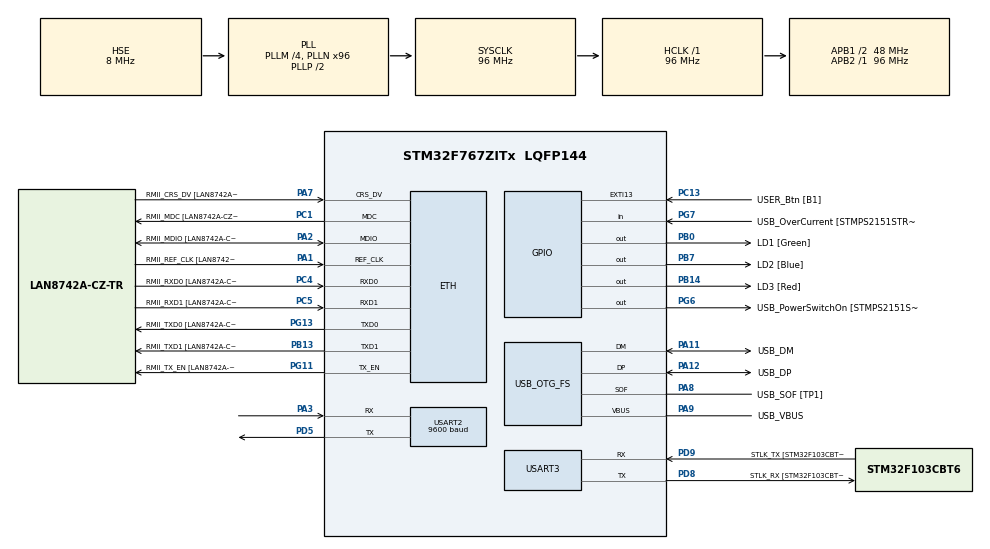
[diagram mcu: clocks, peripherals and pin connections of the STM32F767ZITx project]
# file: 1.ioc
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ETH.MediaInterface=ETH_MEDIA_INTERFACE_RMII
ETH.PHY_Name=LAN8742A_PHY_ADDRESS
ETH.PHY_Value=0
ETH.PhyAddress=0
Mcu.Family=STM32F7
Mcu.Name=STM32F767ZITx
Mcu.Package=LQFP144
NVIC.PriorityGroup=NVIC_PRIORITYGROUP_4
PA1.GPIO_Label=RMII_REF_CLK [LAN8742A-CZ-TR_REFCLK0]
PA1.Mode=RMII
PA1.Signal=ETH_REF_CLK
PA10.GPIO_Label=USB_ID
PA10.Signal=USB_OTG_FS_ID
PA11.GPIO_Label=USB_DM
PA11.Mode=Device_Only
PA11.Signal=USB_OTG_FS_DM
PA12.GPIO_Label=USB_DP
PA12.Mode=Device_Only
PA12.Signal=USB_OTG_FS_DP
PA13.GPIO_Label=TMS
PA13.Mode=Serial_Wire
PA13.Signal=SYS_JTMS-SWDIO
PA14.GPIO_Label=TCK
PA14.Mode=Serial_Wire
PA14.Signal=SYS_JTCK-SWCLK
PA2.GPIO_Label=RMII_MDIO [LAN8742A-CZ-TR_MDIO]
PA2.Mode=RMII
PA2.Signal=ETH_MDIO
PA3.Mode=Asynchronous
PA3.Signal=USART2_RX
PA7.GPIO_Label=RMII_CRS_DV [LAN8742A-CZ-TR_CRS_DV]
PA7.Mode=RMII
PA7.Signal=ETH_CRS_DV
PA8.GPIO_Label=USB_SOF [TP1]
PA8.Mode=Activate_SOF_FS
PA8.Signal=USB_OTG_FS_SOF
PA9.GPIO_Label=USB_VBUS
PA9.Mode=Activate_VBUS
PA9.Signal=USB_OTG_FS_VBUS
PB0.GPIO_Label=LD1 [Green]
PB0.Signal=GPIO_Output
PB13.GPIO_Label=RMII_TXD1 [LAN8742A-CZ-TR_TXD1]
PB13.Mode=RMII
PB13.Signal=ETH_TXD1
PB14.GPIO_Label=LD3 [Red]
PB14.Signal=GPIO_Output
PB3.GPIO_Label=SWO
PB3.Signal=SYS_JTDO-SWO
PB7.GPIO_Label=LD2 [Blue]
PB7.Signal=GPIO_Output
PC1.GPIO_Label=RMII_MDC [LAN8742A-CZ-TR_MDC]
PC1.Mode=RMII
PC1.Signal=ETH_MDC
PC13.GPIO_Label=USER_Btn [B1]
PC13.Signal=GPXTI13
PC14/OSC32_IN.Mode=LSE-External-Oscillator
PC14/OSC32_IN.Signal=RCC_OSC32_IN
PC15/OSC32_OUT.Mode=LSE-External-Oscillator
PC15/OSC32_OUT.Signal=RCC_OSC32_OUT
PC4.GPIO_Label=RMII_RXD0 [LAN8742A-CZ-TR_RXD0]
PC4.Mode=RMII
PC4.Signal=ETH_RXD0
PC5.GPIO_Label=RMII_RXD1 [LAN8742A-CZ-TR_RXD1]
PC5.Mode=RMII
PC5.Signal=ETH_RXD1
PD5.Mode=Asynchronous
PD5.Signal=USART2_TX
PD8.GPIO_Label=STLK_RX [STM32F103CBT6_PA3]
PD8.Mode=Asynchronous
PD8.Signal=USART3_TX
PD9.GPIO_Label=STLK_TX [STM32F103CBT6_PA2]
PD9.Mode=Asynchronous
PD9.Signal=USART3_RX
PG11.GPIO_Label=RMII_TX_EN [LAN8742A-CZ-TR_TXEN]
PG11.Mode=RMII
PG11.Signal=ETH_TX_EN
PG13.GPIO_Label=RMII_TXD0 [LAN8742A-CZ-TR_TXD0]
PG13.Mode=RMII
PG13.Signal=ETH_TXD0
PG6.GPIO_Label=USB_PowerSwitchOn [STMPS2151STR_EN]
PG6.Signal=GPIO_Output
PG7.GPIO_Label=USB_OverCurrent [STMPS2151STR_FAULT]
PG7.Signal=GPIO_Input
PH0/OSC_IN.GPIO_Label=MCO [STM32F103CBT6_PA8]
PH0/OSC_IN.Mode=HSE-External-Clock-Source
PH0/OSC_IN.Signal=RCC_OSC_IN
PH1/OSC_OUT.Mode=HSE-External-Clock-Source
PH1/OSC_OUT.Signal=RCC_OSC_OUT
ProjectManager.HeapSize=0x200
ProjectManager.StackSize=0x400
ProjectManager.TargetToolchain=STM32CubeIDE
RCC.48MHZClocksFreq_Value=24000000
RCC.AHBFreq_Value=96000000
RCC.APB1CLKDivider=RCC_HCLK_DIV2
RCC.APB1Freq_Value=48000000
RCC.APB1TimFreq_Value=96000000
RCC.APB2Freq_Value=96000000
RCC.APB2TimFreq_Value=96000000
RCC.CortexFreq_Value=96000000
RCC.HCLKFreq_Value=96000000
RCC.HSE_VALUE=8000000
RCC.HSI_VALUE=16000000
RCC.PLLM=4
RCC.PLLMUL=RCC_PLL_MUL9
RCC.PLLN=96
RCC.PLLQ=4
RCC.PRESCALERUSB=RCC_USBCLKSOURCE_PLL_DIV1_5
RCC.SYSCLKFreq_VALUE=96000000
RCC.SYSCLKSource=RCC_SYSCLKSOURCE_PLLCLK
RCC.SYSCLKSourceVirtual=RCC_SYSCLKSOURCE_PLLCLK
RCC.USBFreq_Value=48000000
RCC.VCOOutputFreq_Value=192000000
USART2.BaudRate=9600
USART2.VirtualMode-Asynchronous=VM_ASYNC
USART3.VirtualMode-Asynchronous=VM_ASYNC
USB_OTG_FS.VirtualMode=Device_Only
board=NUCLEO-F767ZI

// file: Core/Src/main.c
/* USER CODE BEGIN Header */
/**
  ******************************************************************************
  * @file           : main.c
  * @brief          : Main program body
  ******************************************************************************
  * @attention
  *
  * <h2><center>&copy; Copyright (c) 2020 STMicroelectronics.
  * All rights reserved.</center></h2>
  *
  * This software component is licensed by ST under BSD 3-Clause license,
  * the "License"; You may not use this file except in compliance with the
  * License. You may obtain a copy of the License at:
  *                        opensource.org/licenses/BSD-3-Clause
  *
  ******************************************************************************
  */
/* USER CODE END Header */
#include "main.h"

ETH_HandleTypeDef heth;

UART_HandleTypeDef huart2;
UART_HandleTypeDef huart3;

PCD_HandleTypeDef hpcd_USB_OTG_FS;

void SystemClock_Config(void);
static void MX_GPIO_Init(void);
static void MX_ETH_Init(void);
static void MX_USART3_UART_Init(void);
static void MX_USB_OTG_FS_PCD_Init(void);
static void MX_USART2_UART_Init(void);

/* USER CODE BEGIN 0 */
//void myputchar(uint32_t data){
//	while ((USART3->SR & USART_SR_TXE) == 0);
//	USART3->DR = data;
//}
/*
void protected_write_data(uint8_t* data, uint32_t size){
	uint32_t check = PACKET_START1 ^ PACKET_START2;
	myputchar(PACKET_START1);
	myputchar(PACKET_START2);
	for (uint32_t i=0; i < size; i++){
		myputchar(data[i]);
		check ^= data[i];
	}
	myputchar(check);
}*/

_Bool paymentOptionA(){

	if(1){
		return 1;
	}
	else if(0){
			return 0;
		}
}

_Bool paymentOptionB(){
//условные отправки к платежным терминалом, зависит от того, как будет реализовано
	if(1){
		return 1;
	}
	else if(0){
			return 0;
		}
}

_Bool getCode(char a){//условные отправки к платежным терминалом, зависит от того, как будет реализовано
	if(a =='1'){
		return paymentOptionA;
	}
	else if(a =='0'){
			return paymentOptionB;
	}
	return 0;
}

_Bool sendInfo(uint8_t* recieve_str){
	//штука общается по юарту
	uint8_t strAT[] = "AT+SAPBR=3,1,\"CONTYPE\",\"GPRS\"";
	HAL_UART_Transmit_IT (USART2, strAT, 50);
	HAL_Delay(100);
	uint8_t strAT1[] = "AT+SAPBR=3,1,\"APN\",\"internet.tele2.ru\"";
	HAL_UART_Transmit_IT (USART2, strAT1, 50);
	HAL_Delay(100);
	uint8_t strAT2[]=	    "AT+SAPBR=3,1,\"USER\",\"tele2\"";
	HAL_UART_Transmit_IT (USART2, strAT2, 50);
	HAL_Delay(100);
	uint8_t strAT3[] =	    "AT+SAPBR=3,1,\"PWD\",\"tele2\"";
	HAL_UART_Transmit_IT (USART2, strAT3, 50);
	HAL_Delay(100);
	uint8_t strAT4[]=	    "AT+SAPBR=1,1";  //Устанавливаем GPRS соединение
	HAL_UART_Transmit_IT (USART2, strAT4, 50);
	HAL_Delay(100);
	uint8_t strAT5[] =	    "AT+HTTPINIT";  //Инициализация http сервиса
	HAL_UART_Transmit_IT (USART2, strAT5, 50);
	HAL_Delay(1000);
	uint8_t strAT6[] =	    "AT+HTTPPARA=\"CID\",1";
	HAL_UART_Transmit_IT (USART2, strAT6, 50);
	HAL_Delay(1000);
	HAL_UART_Transmit_IT (USART2, recieve_str, 50);
	HAL_Delay(1000);
	return 1;
}
/* USER CODE END 0 */

int main(void)
{

  /* MCU Configuration--------------------------------------------------------*/

  /* Reset of all peripherals, Initializes the Flash interface and the Systick. */
  HAL_Init();

  /* Configure the system clock */
  SystemClock_Config();

  /* Initialize all configured peripherals */
  MX_GPIO_Init();
  MX_ETH_Init();
  MX_USART3_UART_Init();
  MX_USB_OTG_FS_PCD_Init();
  MX_USART2_UART_Init();
  /* USER CODE BEGIN 2 */
  uint8_t str[]="Start";
  	//while (1)
  uint8_t recieve_str[100];
    //{
  HAL_UART_Transmit(USART3, str, 1, 5);
  HAL_Delay(1000);
  	//}
  /* USER CODE END 2 */

  /* Infinite loop */
  while (1)
  {
	  if( HAL_UART_Receive(USART3, str, 1, 3) == HAL_OK ) //мы находимся в постянном ожидании входных данных
	  {
		  uint8_t check;
		  for(int i = 0; i < 100; i++){
			  if(recieve_str[i]='a')		//отвечает за статус оплаты
				  if (getCode(recieve_str[i+1])){
					  uint8_t str[] = "a1";
					  for (uint32_t i=0; i < 2; i++){
						   check ^= str[i];
					  	}
					  str[2] = check;
					  HAL_UART_Transmit_IT(USART3, str, 3);//ответ
				  }
				  else {
						  uint8_t str[] = "a0";
						  for (uint32_t i=0; i < 2; i++){
								  check ^= str[i];
							}
						  str[2] = check;
						  HAL_UART_Transmit_IT(USART3, str, 3);//ответ
					  }
			  if(recieve_str[i]='b')
			  				  if (sendInfo(recieve_str)){	//отвечает за отправку по GSM в бд
			  					  uint8_t str[] = "a1";
			  					  for (uint32_t i=0; i < 2; i++){
			  					  		  check ^= str[i];
			  					  	}
			  					 str[2] = check;
			  					HAL_UART_Transmit_IT(USART3, str, 3);//ответ
			  				  }
			  				  else {
			  						  uint8_t str[] = "a0";
			  						  for (uint32_t i=0; i < 2; i++){
			  								  check ^= str[i];
			  							}
			  						 str[2] = check;
			  						HAL_UART_Transmit_IT(USART3, str, 3); //ответ
			  					  }

		  }
	  }
	  //HAL_UART_Resieve(&huart3,str,16,0xFFFF);
  }
}

void SystemClock_Config(void)
{
  RCC_OscInitTypeDef RCC_OscInitStruct = {0};
  RCC_ClkInitTypeDef RCC_ClkInitStruct = {0};
  RCC_PeriphCLKInitTypeDef PeriphClkInitStruct = {0};

  /** Configure LSE Drive Capability
  */
  HAL_PWR_EnableBkUpAccess();
  /** Configure the main internal regulator output voltage
  */
  __HAL_RCC_PWR_CLK_ENABLE();
  __HAL_PWR_VOLTAGESCALING_CONFIG(PWR_REGULATOR_VOLTAGE_SCALE3);
  /** Initializes the RCC Oscillators according to the specified parameters
  * in the RCC_OscInitTypeDef structure.
  */
  RCC_OscInitStruct.OscillatorType = RCC_OSCILLATORTYPE_HSE;
  RCC_OscInitStruct.HSEState = RCC_HSE_BYPASS;
  RCC_OscInitStruct.PLL.PLLState = RCC_PLL_ON;
  RCC_OscInitStruct.PLL.PLLSource = RCC_PLLSOURCE_HSE;
  RCC_OscInitStruct.PLL.PLLM = 4;
  RCC_OscInitStruct.PLL.PLLN = 96;
  RCC_OscInitStruct.PLL.PLLP = RCC_PLLP_DIV2;
  RCC_OscInitStruct.PLL.PLLQ = 4;
  if (HAL_RCC_OscConfig(&RCC_OscInitStruct) != HAL_OK)
  {
    Error_Handler();
  }
  /** Activate the Over-Drive mode
  */
  if (HAL_PWREx_EnableOverDrive() != HAL_OK)
  {
    Error_Handler();
  }
  /** Initializes the CPU, AHB and APB buses clocks
  */
  RCC_ClkInitStruct.ClockType = RCC_CLOCKTYPE_HCLK|RCC_CLOCKTYPE_SYSCLK
                              |RCC_CLOCKTYPE_PCLK1|RCC_CLOCKTYPE_PCLK2;
  RCC_ClkInitStruct.SYSCLKSource = RCC_SYSCLKSOURCE_PLLCLK;
  RCC_ClkInitStruct.AHBCLKDivider = RCC_SYSCLK_DIV1;
  RCC_ClkInitStruct.APB1CLKDivider = RCC_HCLK_DIV2;
  RCC_ClkInitStruct.APB2CLKDivider = RCC_HCLK_DIV1;

  if (HAL_RCC_ClockConfig(&RCC_ClkInitStruct, FLASH_LATENCY_3) != HAL_OK)
  {
    Error_Handler();
  }
  PeriphClkInitStruct.PeriphClockSelection = RCC_PERIPHCLK_USART2|RCC_PERIPHCLK_USART3
                              |RCC_PERIPHCLK_CLK48;
  PeriphClkInitStruct.Usart2ClockSelection = RCC_USART2CLKSOURCE_PCLK1;
  PeriphClkInitStruct.Usart3ClockSelection = RCC_USART3CLKSOURCE_PCLK1;
  PeriphClkInitStruct.Clk48ClockSelection = RCC_CLK48SOURCE_PLL;
  if (HAL_RCCEx_PeriphCLKConfig(&PeriphClkInitStruct) != HAL_OK)
  {
    Error_Handler();
  }
}

static void MX_ETH_Init(void)
{

  heth.Instance = ETH;
  heth.Init.AutoNegotiation = ETH_AUTONEGOTIATION_ENABLE;
  heth.Init.Speed = ETH_SPEED_100M;
  heth.Init.DuplexMode = ETH_MODE_FULLDUPLEX;
  heth.Init.PhyAddress = LAN8742A_PHY_ADDRESS;
  heth.Init.MACAddr[0] =   0x00;
  heth.Init.MACAddr[1] =   0x80;
  heth.Init.MACAddr[2] =   0xE1;
  heth.Init.MACAddr[3] =   0x00;
  heth.Init.MACAddr[4] =   0x00;
  heth.Init.MACAddr[5] =   0x00;
  heth.Init.RxMode = ETH_RXPOLLING_MODE;
  heth.Init.ChecksumMode = ETH_CHECKSUM_BY_HARDWARE;
  heth.Init.MediaInterface = ETH_MEDIA_INTERFACE_RMII;

  if (HAL_ETH_Init(&heth) != HAL_OK)
  {
    Error_Handler();
  }

}

static void MX_USART2_UART_Init(void)
{

  huart2.Instance = USART2;
  huart2.Init.BaudRate = 9600;
  huart2.Init.WordLength = UART_WORDLENGTH_8B;
  huart2.Init.StopBits = UART_STOPBITS_1;
  huart2.Init.Parity = UART_PARITY_NONE;
  huart2.Init.Mode = UART_MODE_TX_RX;
  huart2.Init.HwFlowCtl = UART_HWCONTROL_NONE;
  huart2.Init.OverSampling = UART_OVERSAMPLING_16;
  huart2.Init.OneBitSampling = UART_ONE_BIT_SAMPLE_DISABLE;
  huart2.AdvancedInit.AdvFeatureInit = UART_ADVFEATURE_NO_INIT;
  if (HAL_UART_Init(&huart2) != HAL_OK)
  {
    Error_Handler();
  }

}

static void MX_USART3_UART_Init(void)
{

  huart3.Instance = USART3;
  huart3.Init.BaudRate = 115200;
  huart3.Init.WordLength = UART_WORDLENGTH_8B;
  huart3.Init.StopBits = UART_STOPBITS_1;
  huart3.Init.Parity = UART_PARITY_NONE;
  huart3.Init.Mode = UART_MODE_TX_RX;
  huart3.Init.HwFlowCtl = UART_HWCONTROL_NONE;
  huart3.Init.OverSampling = UART_OVERSAMPLING_16;
  huart3.Init.OneBitSampling = UART_ONE_BIT_SAMPLE_DISABLE;
  huart3.AdvancedInit.AdvFeatureInit = UART_ADVFEATURE_NO_INIT;
  if (HAL_UART_Init(&huart3) != HAL_OK)
  {
    Error_Handler();
  }

}

static void MX_USB_OTG_FS_PCD_Init(void)
{

  hpcd_USB_OTG_FS.Instance = USB_OTG_FS;
  hpcd_USB_OTG_FS.Init.dev_endpoints = 6;
  hpcd_USB_OTG_FS.Init.speed = PCD_SPEED_FULL;
  hpcd_USB_OTG_FS.Init.dma_enable = DISABLE;
  hpcd_USB_OTG_FS.Init.phy_itface = PCD_PHY_EMBEDDED;
  hpcd_USB_OTG_FS.Init.Sof_enable = ENABLE;
  hpcd_USB_OTG_FS.Init.low_power_enable = DISABLE;
  hpcd_USB_OTG_FS.Init.lpm_enable = DISABLE;
  hpcd_USB_OTG_FS.Init.vbus_sensing_enable = ENABLE;
  hpcd_USB_OTG_FS.Init.use_dedicated_ep1 = DISABLE;
  if (HAL_PCD_Init(&hpcd_USB_OTG_FS) != HAL_OK)
  {
    Error_Handler();
  }

}

static void MX_GPIO_Init(void)
{
  GPIO_InitTypeDef GPIO_InitStruct = {0};

  /* GPIO Ports Clock Enable */
  __HAL_RCC_GPIOC_CLK_ENABLE();
  __HAL_RCC_GPIOH_CLK_ENABLE();
  __HAL_RCC_GPIOA_CLK_ENABLE();
  __HAL_RCC_GPIOB_CLK_ENABLE();
  __HAL_RCC_GPIOD_CLK_ENABLE();
  __HAL_RCC_GPIOG_CLK_ENABLE();

  /*Configure GPIO pin Output Level */
  HAL_GPIO_WritePin(GPIOB, LD1_Pin|LD3_Pin|LD2_Pin, GPIO_PIN_RESET);

  /*Configure GPIO pin Output Level */
  HAL_GPIO_WritePin(USB_PowerSwitchOn_GPIO_Port, USB_PowerSwitchOn_Pin, GPIO_PIN_RESET);

  /*Configure GPIO pin : USER_Btn_Pin */
  GPIO_InitStruct.Pin = USER_Btn_Pin;
  GPIO_InitStruct.Mode = GPIO_MODE_IT_RISING;
  GPIO_InitStruct.Pull = GPIO_NOPULL;
  HAL_GPIO_Init(USER_Btn_GPIO_Port, &GPIO_InitStruct);

  /*Configure GPIO pins : LD1_Pin LD3_Pin LD2_Pin */
  GPIO_InitStruct.Pin = LD1_Pin|LD3_Pin|LD2_Pin;
  GPIO_InitStruct.Mode = GPIO_MODE_OUTPUT_PP;
  GPIO_InitStruct.Pull = GPIO_NOPULL;
  GPIO_InitStruct.Speed = GPIO_SPEED_FREQ_LOW;
  HAL_GPIO_Init(GPIOB, &GPIO_InitStruct);

  /*Configure GPIO pin : USB_PowerSwitchOn_Pin */
  GPIO_InitStruct.Pin = USB_PowerSwitchOn_Pin;
  GPIO_InitStruct.Mode = GPIO_MODE_OUTPUT_PP;
  GPIO_InitStruct.Pull = GPIO_NOPULL;
  GPIO_InitStruct.Speed = GPIO_SPEED_FREQ_LOW;
  HAL_GPIO_Init(USB_PowerSwitchOn_GPIO_Port, &GPIO_InitStruct);

  /*Configure GPIO pin : USB_OverCurrent_Pin */
  GPIO_InitStruct.Pin = USB_OverCurrent_Pin;
  GPIO_InitStruct.Mode = GPIO_MODE_INPUT;
  GPIO_InitStruct.Pull = GPIO_NOPULL;
  HAL_GPIO_Init(USB_OverCurrent_GPIO_Port, &GPIO_InitStruct);

}

void Error_Handler(void)
{
  __disable_irq();
  while (1)
  {
  }
}

/************************ (C) COPYRIGHT STMicroelectronics *****END OF FILE****/
